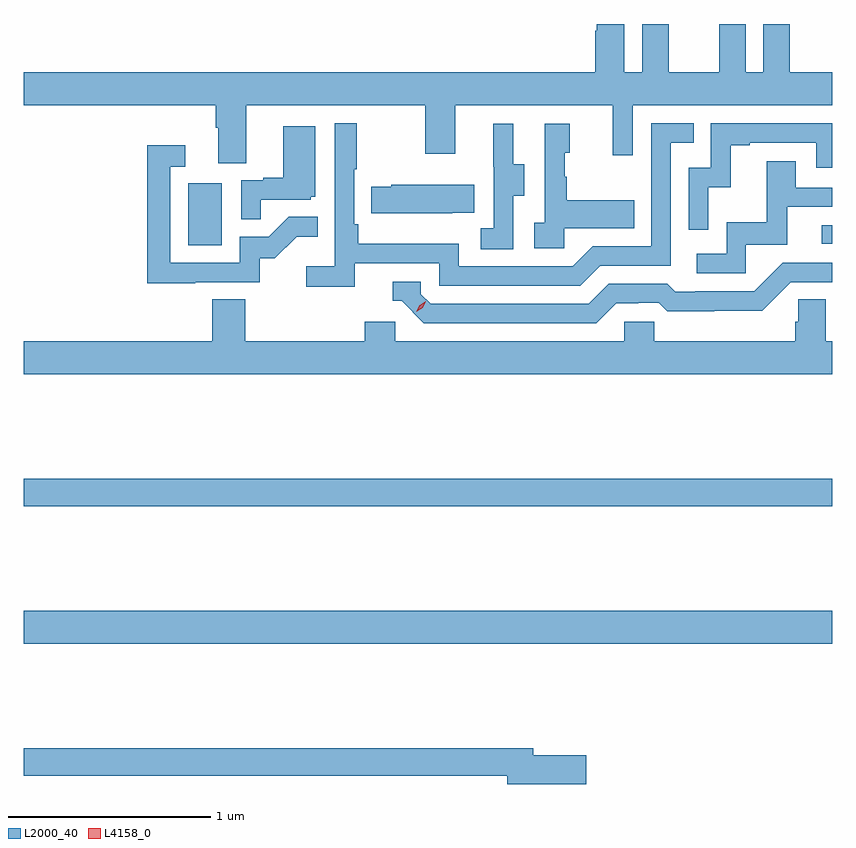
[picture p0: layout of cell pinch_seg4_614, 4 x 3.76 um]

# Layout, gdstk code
import gdstk
lib = gdstk.Library(unit=1e-6, precision=1e-09)
def R(c, l, rs):  # rectangles x0, y0, x1, y1
    for r in rs: c.add(gdstk.rectangle(r[:2], r[2:], *l))
def P(c, l, *ps):  # polygons
    for p in ps: c.add(gdstk.Polygon(p, *l))
L2000_40 = (2000, 40)
L4158_0 = (4158, 0)

pinch_seg4_614 = lib.new_cell('pinch_seg4_614')
R(pinch_seg4_614, L2000_40, [(1021.425,760.856,1025.425,761.02), (1021.425,761.536,1025.425,761.672), (1022.24,762.828,1022.404,763.135), (1025.373,762.834,1025.425,762.927)])
P(pinch_seg4_614, L2000_40, [(1021.425,763.52),(1022.375,763.52),(1022.375,763.408),(1022.387,763.408),(1022.387,763.234),(1022.527,763.234),(1022.527,763.52),(1023.412,763.52),(1023.412,763.281),(1023.559,763.281),(1023.559,763.52),(1024.34,763.52),(1024.34,763.272),(1024.437,763.272),(1024.437,763.52),(1025.425,763.52),(1025.425,763.684),(1025.215,763.684),(1025.215,763.922),(1025.084,763.922),(1025.084,763.684),(1024.996,763.684),(1024.996,763.922),(1024.865,763.922),(1024.865,763.684),(1024.615,763.684),(1024.615,763.922),(1024.484,763.922),(1024.484,763.684),(1024.396,763.684),(1024.396,763.922),(1024.259,763.922),(1024.259,763.889),(1024.253,763.889),(1024.253,763.684),(1021.425,763.684)],
  [(1023.062,762.738),(1023.48,762.738),(1023.48,762.627),(1024.177,762.627),(1024.276,762.726),(1024.626,762.726),(1024.626,763.335),(1024.739,763.335),(1024.739,763.431),(1024.53,763.431),(1024.53,762.822),(1024.239,762.822),(1024.14,762.723),(1023.576,762.723),(1023.576,762.835),(1023.08,762.835),(1023.08,762.931),(1023.06,762.931),(1023.06,763.204),(1023.073,763.204),(1023.073,763.432),(1022.964,763.432),(1022.964,762.724),(1022.823,762.724),(1022.823,762.622),(1023.062,762.622)],
  [(1024.812,763.115),(1024.922,763.115),(1024.922,763.323),(1025.017,763.323),(1025.017,763.335),(1025.346,763.335),(1025.346,763.212),(1025.425,763.212),(1025.425,763.431),(1024.824,763.431),(1024.824,763.212),(1024.716,763.212),(1024.716,762.903),(1024.812,762.903)],
  [(1023.846,763.072),(1023.901,763.072),(1023.901,763.227),(1023.847,763.227),(1023.847,763.429),(1023.749,763.429),(1023.749,763.215),(1023.75,763.215),(1023.75,762.911),(1023.687,762.911),(1023.687,762.808),(1023.846,762.808)],
  [(1024.098,762.911),(1024.445,762.911),(1024.445,763.051),(1024.111,763.051),(1024.111,763.166),(1024.101,763.166),(1024.101,763.284),(1024.126,763.284),(1024.126,763.429),(1024.002,763.429),(1024.002,762.938),(1023.951,762.938),(1023.951,762.813),(1024.098,762.813)],
  [(1022.597,763.053),(1022.844,763.053),(1022.844,763.068),(1022.866,763.068),(1022.866,763.417),(1022.708,763.417),(1022.708,763.162),(1022.609,763.162),(1022.609,763.149),(1022.502,763.149),(1022.502,762.955),(1022.597,762.955)],
  [(1022.273,762.645),(1022.592,762.645),(1022.592,762.762),(1022.668,762.762),(1022.775,762.869),(1022.879,762.869),(1022.879,762.968),(1022.735,762.968),(1022.637,762.87),(1022.493,762.87),(1022.493,762.741),(1022.151,762.741),(1022.151,763.215),(1022.224,763.215),(1022.224,763.321),(1022.035,763.321),(1022.035,762.64),(1022.273,762.64)],
  [(1024.998,762.831),(1025.203,762.831),(1025.203,763.017),(1025.425,763.017),(1025.425,763.113),(1025.245,763.113),(1025.245,763.243),(1025.101,763.243),(1025.101,762.94),(1024.902,762.94),(1024.902,762.786),(1024.755,762.786),(1024.755,762.69),(1024.998,762.69)],
  [(1023.545,762.989),(1023.653,762.989),(1023.653,763.126),(1023.243,763.126),(1023.243,763.116),(1023.145,763.116),(1023.145,762.986),(1023.545,762.986)],
  [(1024.357,762.54),(1024.464,762.54),(1024.464,762.543),(1024.567,762.543),(1024.609,762.501),(1024.842,762.501),(1024.842,762.503),(1025.078,762.503),(1025.22,762.645),(1025.425,762.645),(1025.425,762.741),(1025.181,762.741),(1025.04,762.6),(1024.747,762.6),(1024.747,762.597),(1024.648,762.597),(1024.609,762.636),(1024.32,762.636),(1024.221,762.537),(1023.438,762.537),(1023.39,762.585),(1023.39,762.648),(1023.251,762.648),(1023.251,762.552),(1023.294,762.552),(1023.405,762.441),(1024.258,762.441)],
  [(1025.425,762.352),(1025.394,762.352),(1025.394,762.56),(1025.257,762.56),(1025.257,762.45),(1025.243,762.45),(1025.243,762.352),(1024.545,762.352),(1024.545,762.45),(1024.395,762.45),(1024.395,762.352),(1023.264,762.352),(1023.264,762.45),(1023.113,762.45),(1023.113,762.352),(1022.522,762.352),(1022.522,762.56),(1022.357,762.56),(1022.357,762.352),(1021.425,762.352),(1021.425,762.188),(1025.425,762.188)],
  [(1024.207,760.304),(1023.946,760.304),(1023.946,760.34),(1021.425,760.34),(1021.425,760.204),(1023.818,760.204),(1023.818,760.162),(1024.207,760.162)])
P(pinch_seg4_614, L4158_0, [(1023.367,762.499),(1023.367,762.499),(1023.384,762.531),(1023.415,762.55),(1023.415,762.55),(1023.415,762.55),(1023.398,762.518),(1023.368,762.499)])

lib.write_gds('pinch_seg4_614.gds')
